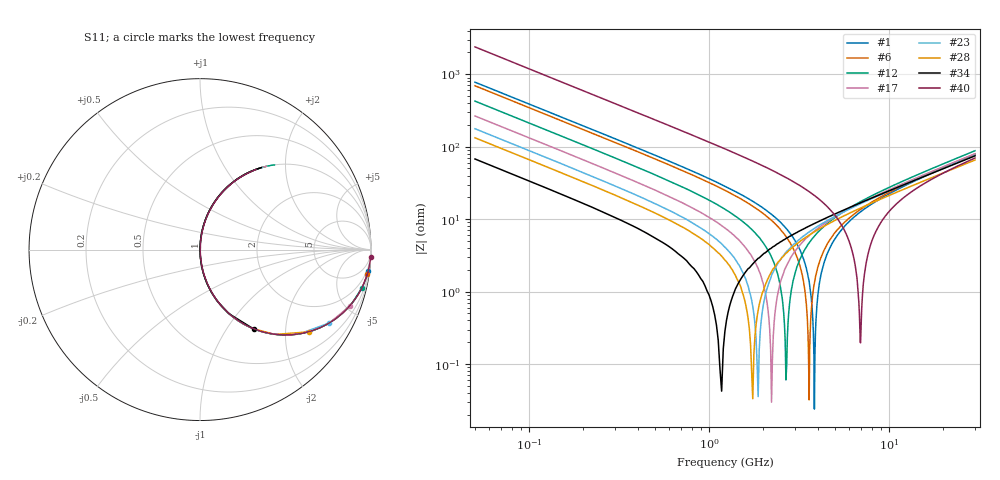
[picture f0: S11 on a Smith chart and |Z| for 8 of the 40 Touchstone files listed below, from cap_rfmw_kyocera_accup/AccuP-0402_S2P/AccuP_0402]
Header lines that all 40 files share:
!	AVX Thin Film Operation 	Date: April 2014
!	Description: Accu-P® Series, Thin Film  SMD RF Capacitor
# MHZ S MA R 50
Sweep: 50 MHz to 30 GHz
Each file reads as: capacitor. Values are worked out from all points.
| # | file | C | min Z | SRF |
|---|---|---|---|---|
| 1 | C0402SE4r1.s2p | 4.1 pF | 24 mohm | 3.845 GHz |
| 2 | C0402SE4r2.s2p | 4.2 pF | 49.4 mohm | 3.752 GHz |
| 3 | C0402SE4r3.s2p | 4.3 pF | 63.3 mohm | 3.708 GHz |
| 4 | C0402SE4r4.s2p | 4.4 pF | 63.6 mohm | 3.757 GHz |
| 5 | C0402SE4r5.s2p | 4.5 pF | 52.6 mohm | 3.635 GHz |
| 6 | C0402SE4r6.s2p | 4.6 pF | 32.1 mohm | 3.59 GHz |
| 7 | C0402SE4r7.s2p | 4.7 pF | 57.2 mohm | 3.504 GHz |
| 8 | C0402SE5r1.s2p | 5.1 pF | 33.8 mohm | 3.415 GHz |
| 9 | C0402SE5r6.s2p | 5.6 pF | 35.1 mohm | 3.375 GHz |
| 10 | C0402SE6r2.s2p | 6.2 pF | 23.1 mohm | 3.021 GHz |
| 11 | C0402SE6r8.s2p | 6.8 pF | 62.1 mohm | 2.78 GHz |
| 12 | C0402SE7r5.s2p | 7.5 pF | 60.5 mohm | 2.68 GHz |
| 13 | C0402SE8r2.s2p | 8.2 pF | 28.2 mohm | 2.693 GHz |
| 14 | C0402SE9r1.s2p | 9.1 pF | 52.7 mohm | 2.512 GHz |
| 15 | C0402SE100.s2p | 10 pF | 29.3 mohm | 2.424 GHz |
| 16 | C0402SE110.s2p | 11 pF | 23.3 mohm | 2.296 GHz |
| 17 | C0402SE120.s2p | 12 pF | 29.8 mohm | 2.225 GHz |
| 18 | C0402SE130.s2p | 13 pF | 35.2 mohm | 2.191 GHz |
| 19 | C0402SE140.s2p | 14 pF | 62.9 mohm | 2.135 GHz |
| 20 | C0402SE150.s2p | 15 pF | 85.6 mohm | 2.088 GHz |
| 21 | C0402SE160.s2p | 16 pF | 24.5 mohm | 2.022 GHz |
| 22 | C0402SE170.s2p | 17 pF | 32.4 mohm | 1.942 GHz |
| 23 | C0402SE180.s2p | 18 pF | 35.7 mohm | 1.866 GHz |
| 24 | C0402SE190.s2p | 19 pF | 28.2 mohm | 1.851 GHz |
| 25 | C0402SE200.s2p | 20 pF | 29 mohm | 1.826 GHz |
| 26 | C0402SE210.s2p | 21 pF | 39.7 mohm | 1.804 GHz |
| 27 | C0402SE220.s2p | 22 pF | 22.1 mohm | 1.774 GHz |
| 28 | C0402SE240.s2p | 24 pF | 33.3 mohm | 1.741 GHz |
| 29 | C0402SE270.s2p | 27 pF | 28.8 mohm | 1.716 GHz |
| 30 | C0402SE300.s2p | 30 pF | 23.4 mohm | 1.703 GHz |
| 31 | C0402SE330.s2p | 33 pF | 13.9 mohm | 1.673 GHz |
| 32 | C0402SE360.s2p | 36 pF | 14 mohm | 1.47 GHz |
| 33 | C0402SE390.s2p | 39 pF | 38.8 mohm | 1.281 GHz |
| 34 | C0402SE470.s2p | 47 pF | 42.4 mohm | 1.165 GHz |
| 35 | C0402SE560.s2p | 56 pF | 32.8 mohm | 1.054 GHz |
| 36 | C0402SE680.s2p | 68 pF | 24.6 mohm | 845.6 MHz |
| 37 | C0402SEA05.s2p | 1.05 pF | 211 mohm | 7.989 GHz |
| 38 | C0402SEA15.s2p | 1.15 pF | 210 mohm | 7.623 GHz |
| 39 | C0402SEA25.s2p | 1.25 pF | 202 mohm | 7.222 GHz |
| 40 | C0402SEA35.s2p | 1.35 pF | 197 mohm | 6.927 GHz |
